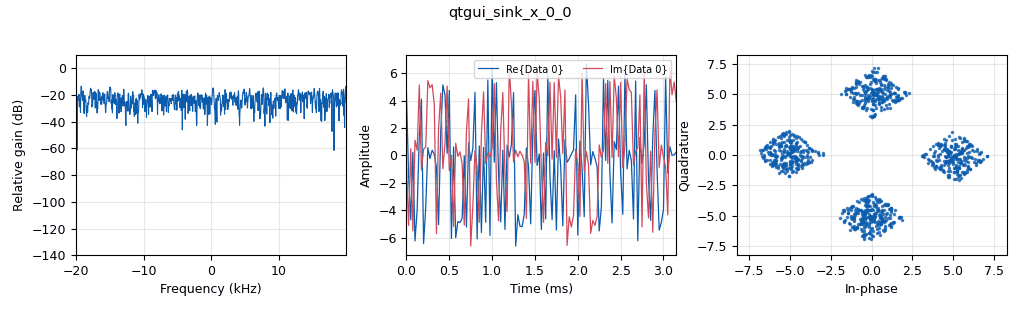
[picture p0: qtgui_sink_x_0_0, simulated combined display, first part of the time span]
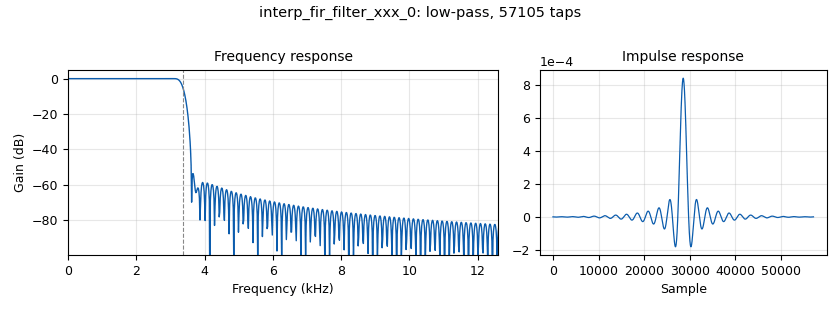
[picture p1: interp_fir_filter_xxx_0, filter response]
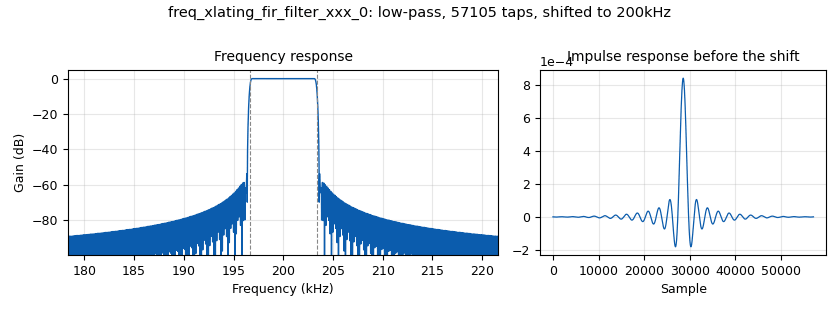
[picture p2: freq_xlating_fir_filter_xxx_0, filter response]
<?xml version='1.0' encoding='utf-8'?>
<?grc format='1' created='3.7.7'?>
<flow_graph>
<block>
<key>options</key>
<param><key>id</key><value>top_block</value></param>
<param><key>generate_options</key><value>qt_gui</value></param>
<param><key>category</key><value>Custom</value></param>
</block>
<block>
<key>variable</key>
<param><key>id</key><value>bits_per_symbol</value></param>
<param><key>value</key><value>2</value></param>
</block>
<block>
<key>variable</key>
<param><key>id</key><value>samp_per_symbol</value></param>
<param><key>value</key><value>8</value></param>
</block>
<block>
<key>variable</key>
<param><key>id</key><value>const_num</value></param>
<param><key>value</key><value>4</value></param>
</block>
<block>
<key>variable</key>
<param><key>id</key><value>baseband_freq</value></param>
<param><key>value</key><value>10e3</value></param>
</block>
<block>
<key>variable</key>
<param><key>id</key><value>filter_transition</value></param>
<param><key>value</key><value>filter_cutoff*0.1</value></param>
</block>
<block>
<key>variable</key>
<param><key>id</key><value>filter_cutoff</value></param>
<param><key>value</key><value>1.35*(baseband_freq/bits_per_symbol)/2</value></param>
</block>
<block>
<key>variable</key>
<param><key>id</key><value>gain</value></param>
<param><key>value</key><value>1e3</value></param>
</block>
<block>
<key>variable</key>
<param><key>id</key><value>center_freq</value></param>
<param><key>value</key><value>313e6</value></param>
</block>
<block>
<key>variable</key>
<param><key>id</key><value>working_samp_rate</value></param>
<param><key>value</key><value>baseband_freq*(samp_per_symbol/bits_per_symbol)</value></param>
</block>
<block>
<key>variable</key>
<param><key>id</key><value>samp_rate</value></param>
<param><key>value</key><value>8e6</value></param>
</block>
<block>
<key>import</key>
<param><key>id</key><value>import_0</value></param>
<param><key>import</key><value>import math</value></param>
</block>
<block>
<key>variable_qtgui_entry</key>
<param><key>id</key><value>freq</value></param>
<param><key>type</key><value>real</value></param>
<param><key>value</key><value>313.2e6</value></param>
</block>
<block>
<key>variable_qtgui_entry</key>
<param><key>id</key><value>noise</value></param>
<param><key>type</key><value>real</value></param>
<param><key>value</key><value>0.1</value></param>
</block>
<block>
<key>variable_qtgui_entry</key>
<param><key>id</key><value>freq_offset</value></param>
<param><key>type</key><value>real</value></param>
<param><key>value</key><value>0</value></param>
</block>
<block>
<key>variable_qtgui_entry</key>
<param><key>id</key><value>freq_match</value></param>
<param><key>type</key><value>real</value></param>
<param><key>value</key><value>1</value></param>
</block>
<block>
<key>digital_psk_mod</key>
<param><key>id</key><value>digital_psk_mod_0</value></param>
<param><key>constellation_points</key><value>const_num</value></param>
<param><key>mod_code</key><value>"gray"</value></param>
<param><key>differential</key><value>True</value></param>
<param><key>samples_per_symbol</key><value>samp_per_symbol</value></param>
<param><key>excess_bw</key><value>0.35</value></param>
</block>
<block>
<key>interp_fir_filter_xxx</key>
<param><key>id</key><value>interp_fir_filter_xxx_0</value></param>
<param><key>type</key><value>ccc</value></param>
<param><key>interp</key><value>int(samp_rate/working_samp_rate)</value></param>
<param><key>taps</key><value>firdes.low_pass(1, samp_rate, filter_cutoff, filter_transition)</value></param>
</block>
<block>
<key>blocks_unpacked_to_packed_xx</key>
<param><key>id</key><value>blocks_unpacked_to_packed_xx_0</value></param>
<param><key>_enabled</key><value>False</value></param>
<param><key>type</key><value>byte</value></param>
<param><key>bits_per_chunk</key><value>1</value></param>
<param><key>endianness</key><value>gr.GR_MSB_FIRST</value></param>
</block>
<block>
<key>blocks_vector_source_x</key>
<param><key>id</key><value>blocks_vector_source_x_0</value></param>
<param><key>_enabled</key><value>False</value></param>
<param><key>type</key><value>byte</value></param>
<param><key>vector</key><value>(0, 1, 1, 1, 0, 1, 0, 1, 0, 1, 0, 0, 0, 0, 0, 0, 0, 0, 0, 0)</value></param>
<param><key>repeat</key><value>True</value></param>
</block>
<block>
<key>analog_random_source_x</key>
<param><key>id</key><value>analog_random_source_x_0</value></param>
<param><key>type</key><value>byte</value></param>
<param><key>min</key><value>0</value></param>
<param><key>max</key><value>255</value></param>
<param><key>num_samps</key><value>1000</value></param>
<param><key>repeat</key><value>True</value></param>
</block>
<block>
<key>analog_sig_source_x</key>
<param><key>id</key><value>analog_sig_source_x_0</value></param>
<param><key>type</key><value>complex</value></param>
<param><key>samp_rate</key><value>samp_rate</value></param>
<param><key>waveform</key><value>analog.GR_COS_WAVE</value></param>
<param><key>freq</key><value>freq-center_freq</value></param>
<param><key>amp</key><value>gain</value></param>
<param><key>offset</key><value>0</value></param>
</block>
<block>
<key>blocks_throttle</key>
<param><key>id</key><value>blocks_throttle_0</value></param>
<param><key>type</key><value>complex</value></param>
<param><key>samples_per_second</key><value>samp_rate</value></param>
</block>
<block>
<key>blocks_multiply_xx</key>
<param><key>id</key><value>blocks_multiply_xx_0</value></param>
<param><key>type</key><value>complex</value></param>
</block>
<block>
<key>channels_channel_model</key>
<param><key>id</key><value>channels_channel_model_0</value></param>
<param><key>noise_voltage</key><value>noise</value></param>
<param><key>freq_offset</key><value>freq_offset</value></param>
<param><key>epsilon</key><value>freq_match</value></param>
<param><key>taps</key><value>1.0j</value></param>
<param><key>seed</key><value>0</value></param>
</block>
<block>
<key>qtgui_time_sink_x</key>
<param><key>id</key><value>qtgui_time_sink_x_1</value></param>
<param><key>_enabled</key><value>False</value></param>
<param><key>type</key><value>complex</value></param>
<param><key>name</key><value>"PSK Modulated Signal"</value></param>
<param><key>size</key><value>16384</value></param>
<param><key>srate</key><value>samp_rate</value></param>
<param><key>ymin</key><value>-1100</value></param>
<param><key>ymax</key><value>1100</value></param>
<param><key>tr_mode</key><value>qtgui.TRIG_MODE_AUTO</value></param>
<param><key>tr_level</key><value>500</value></param>
<param><key>tr_delay</key><value>0.1e-3</value></param>
<param><key>label1</key><value></value></param>
<param><key>color1</key><value>"blue"</value></param>
<param><key>label2</key><value></value></param>
<param><key>color2</key><value>"red"</value></param>
</block>
<block>
<key>qtgui_time_sink_x</key>
<param><key>id</key><value>qtgui_time_sink_x_4</value></param>
<param><key>_enabled</key><value>False</value></param>
<param><key>type</key><value>complex</value></param>
<param><key>name</key><value>"Channel Model Input and Output"</value></param>
<param><key>size</key><value>256</value></param>
<param><key>srate</key><value>samp_rate</value></param>
<param><key>ymin</key><value>-1500</value></param>
<param><key>ymax</key><value>1500</value></param>
<param><key>nconnections</key><value>2</value></param>
<param><key>label1</key><value></value></param>
<param><key>color1</key><value>"blue"</value></param>
<param><key>label2</key><value></value></param>
<param><key>color2</key><value>"red"</value></param>
<param><key>label3</key><value></value></param>
<param><key>color3</key><value>"green"</value></param>
<param><key>label4</key><value></value></param>
<param><key>color4</key><value>"black"</value></param>
</block>
<block>
<key>qtgui_sink_x</key>
<param><key>id</key><value>qtgui_sink_x_0</value></param>
<param><key>_enabled</key><value>False</value></param>
<param><key>type</key><value>complex</value></param>
<param><key>fftsize</key><value>1024</value></param>
<param><key>wintype</key><value>firdes.WIN_BLACKMAN_hARRIS</value></param>
<param><key>fc</key><value>center_freq</value></param>
<param><key>bw</key><value>samp_rate</value></param>
<param><key>showrf</key><value>True</value></param>
<param><key>freqchangevar</key><value>None</value></param>
<param><key>showports</key><value>True</value></param>
</block>
<block>
<key>blocks_uchar_to_float</key>
<param><key>id</key><value>blocks_uchar_to_float_0</value></param>
</block>
<block>
<key>blocks_keep_one_in_n</key>
<param><key>id</key><value>blocks_keep_one_in_n_0</value></param>
<param><key>type</key><value>complex</value></param>
<param><key>n</key><value>samp_per_symbol</value></param>
</block>
<block>
<key>freq_xlating_fir_filter_xxx</key>
<param><key>id</key><value>freq_xlating_fir_filter_xxx_0</value></param>
<param><key>type</key><value>ccc</value></param>
<param><key>decim</key><value>int(samp_rate/working_samp_rate)</value></param>
<param><key>taps</key><value>firdes.low_pass(1, samp_rate, filter_cutoff, filter_transition)</value></param>
<param><key>center_freq</key><value>freq-center_freq</value></param>
<param><key>samp_rate</key><value>samp_rate</value></param>
</block>
<block>
<key>digital_psk_demod</key>
<param><key>id</key><value>digital_psk_demod_0</value></param>
<param><key>constellation_points</key><value>const_num</value></param>
<param><key>differential</key><value>True</value></param>
<param><key>samples_per_symbol</key><value>samp_per_symbol</value></param>
<param><key>excess_bw</key><value>0.35</value></param>
<param><key>freq_bw</key><value>6.28/100.0</value></param>
<param><key>timing_bw</key><value>6.28/100.0</value></param>
<param><key>phase_bw</key><value>6.28/100.0</value></param>
<param><key>mod_code</key><value>"gray"</value></param>
</block>
<block>
<key>qtgui_sink_x</key>
<param><key>id</key><value>qtgui_sink_x_0_0</value></param>
<param><key>type</key><value>complex</value></param>
<param><key>fftsize</key><value>1024</value></param>
<param><key>wintype</key><value>firdes.WIN_BLACKMAN_hARRIS</value></param>
<param><key>fc</key><value>0</value></param>
<param><key>bw</key><value>working_samp_rate</value></param>
<param><key>showrf</key><value>True</value></param>
<param><key>freqchangevar</key><value>None</value></param>
<param><key>showports</key><value>True</value></param>
</block>
<block>
<key>variable_qtgui_entry</key>
<param><key>id</key><value>sensitivity</value></param>
<param><key>type</key><value>real</value></param>
<param><key>value</key><value>math.pi/2</value></param>
</block>
<block>
<key>qtgui_time_sink_x</key>
<param><key>id</key><value>qtgui_time_sink_x_2</value></param>
<param><key>_enabled</key><value>False</value></param>
<param><key>type</key><value>float</value></param>
<param><key>name</key><value>"Receiver Output"</value></param>
<param><key>size</key><value>128</value></param>
<param><key>srate</key><value>baseband_freq</value></param>
<param><key>ymin</key><value>-0.1</value></param>
<param><key>tr_level</key><value>0.5</value></param>
<param><key>tr_delay</key><value>1e-3</value></param>
<param><key>label1</key><value></value></param>
<param><key>color1</key><value>"blue"</value></param>
</block>
<block>
<key>blocks_null_sink</key>
<param><key>id</key><value>blocks_null_sink_0</value></param>
<param><key>type</key><value>float</value></param>
<param><key>bus_conns</key><value>[[0,],]</value></param>
</block>
<connection><source_block_id>analog_sig_source_x_0</source_block_id><sink_block_id>blocks_throttle_0</sink_block_id><source_key>0</source_key><sink_key>0</sink_key></connection>
<connection><source_block_id>blocks_multiply_xx_0</source_block_id><sink_block_id>qtgui_time_sink_x_1</sink_block_id><source_key>0</source_key><sink_key>0</sink_key></connection>
<connection><source_block_id>blocks_throttle_0</source_block_id><sink_block_id>blocks_multiply_xx_0</sink_block_id><source_key>0</source_key><sink_key>1</sink_key></connection>
<connection><source_block_id>blocks_multiply_xx_0</source_block_id><sink_block_id>channels_channel_model_0</sink_block_id><source_key>0</source_key><sink_key>0</sink_key></connection>
<connection><source_block_id>channels_channel_model_0</source_block_id><sink_block_id>freq_xlating_fir_filter_xxx_0</sink_block_id><source_key>0</source_key><sink_key>0</sink_key></connection>
<connection><source_block_id>blocks_multiply_xx_0</source_block_id><sink_block_id>qtgui_time_sink_x_4</sink_block_id><source_key>0</source_key><sink_key>0</sink_key></connection>
<connection><source_block_id>channels_channel_model_0</source_block_id><sink_block_id>qtgui_time_sink_x_4</sink_block_id><source_key>0</source_key><sink_key>1</sink_key></connection>
<connection><source_block_id>blocks_unpacked_to_packed_xx_0</source_block_id><sink_block_id>digital_psk_mod_0</sink_block_id><source_key>0</source_key><sink_key>0</sink_key></connection>
<connection><source_block_id>digital_psk_mod_0</source_block_id><sink_block_id>interp_fir_filter_xxx_0</sink_block_id><source_key>0</source_key><sink_key>0</sink_key></connection>
<connection><source_block_id>interp_fir_filter_xxx_0</source_block_id><sink_block_id>blocks_multiply_xx_0</sink_block_id><source_key>0</source_key><sink_key>0</sink_key></connection>
<connection><source_block_id>channels_channel_model_0</source_block_id><sink_block_id>qtgui_sink_x_0</sink_block_id><source_key>0</source_key><sink_key>0</sink_key></connection>
<connection><source_block_id>analog_random_source_x_0</source_block_id><sink_block_id>digital_psk_mod_0</sink_block_id><source_key>0</source_key><sink_key>0</sink_key></connection>
<connection><source_block_id>blocks_vector_source_x_0</source_block_id><sink_block_id>blocks_unpacked_to_packed_xx_0</sink_block_id><source_key>0</source_key><sink_key>0</sink_key></connection>
<connection><source_block_id>blocks_keep_one_in_n_0</source_block_id><sink_block_id>digital_psk_demod_0</sink_block_id><source_key>0</source_key><sink_key>0</sink_key></connection>
<connection><source_block_id>blocks_keep_one_in_n_0</source_block_id><sink_block_id>qtgui_sink_x_0_0</sink_block_id><source_key>0</source_key><sink_key>0</sink_key></connection>
<connection><source_block_id>freq_xlating_fir_filter_xxx_0</source_block_id><sink_block_id>blocks_keep_one_in_n_0</sink_block_id><source_key>0</source_key><sink_key>0</sink_key></connection>
<connection><source_block_id>blocks_uchar_to_float_0</source_block_id><sink_block_id>blocks_null_sink_0</sink_block_id><source_key>0</source_key><sink_key>0</sink_key></connection>
<connection><source_block_id>digital_psk_demod_0</source_block_id><sink_block_id>blocks_uchar_to_float_0</sink_block_id><source_key>0</source_key><sink_key>0</sink_key></connection>
<connection><source_block_id>blocks_uchar_to_float_0</source_block_id><sink_block_id>qtgui_time_sink_x_2</sink_block_id><source_key>0</source_key><sink_key>0</sink_key></connection>
</flow_graph>
